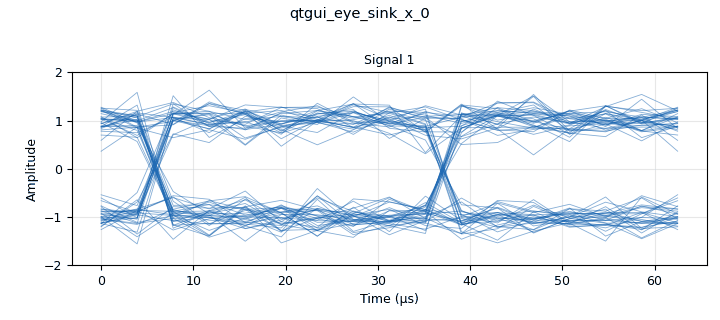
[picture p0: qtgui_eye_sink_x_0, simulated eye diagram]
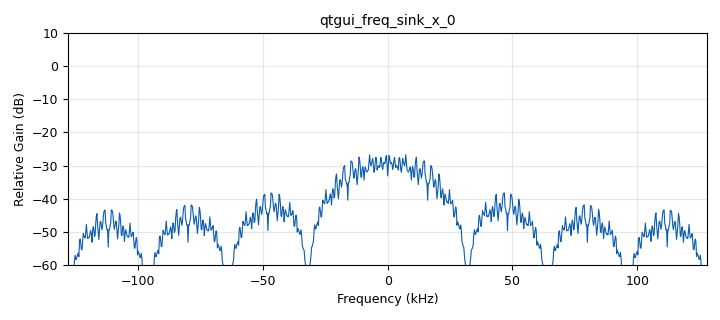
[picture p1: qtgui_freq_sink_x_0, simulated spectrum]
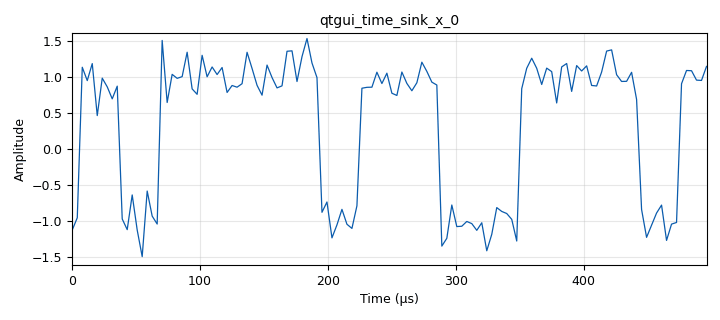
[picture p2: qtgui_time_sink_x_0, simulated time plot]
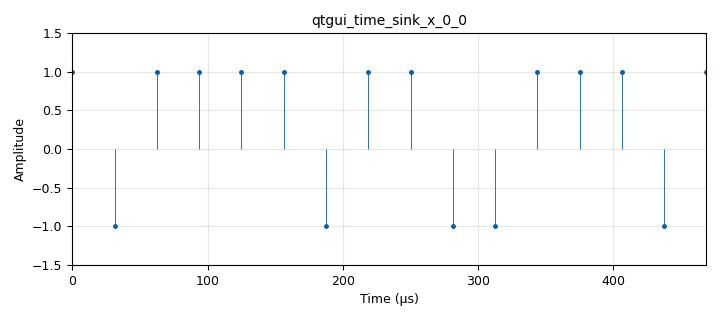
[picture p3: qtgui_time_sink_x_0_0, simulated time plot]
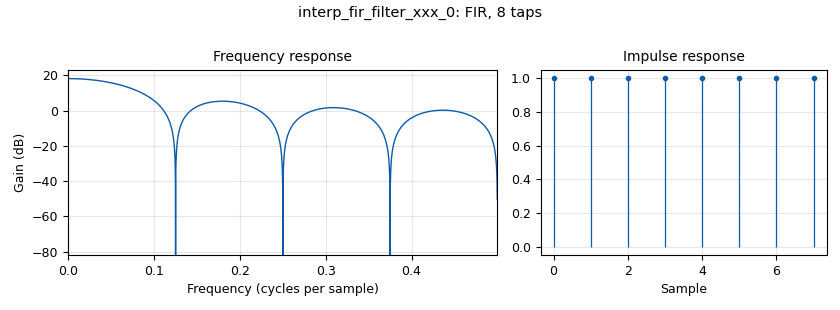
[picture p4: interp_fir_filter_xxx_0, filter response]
options:
  parameters:
    author: radiogis_director
    generate_options: qt_gui
    id: ej1
    output_language: python
    title: ej1
  states: {}

blocks:
- name: BW_filtro
  id: variable_qtgui_range
  parameters:
    gui_hint: 0,0,1,1
    label: BE_filtro
    start: '0'
    step: Fmax/100
    stop: Fmax
    value: Fmax
  states: {}
- name: Fmax
  id: variable
  parameters:
    value: samp_rate/2
  states: {}
- name: Rb
  id: variable
  parameters:
    value: Rs*bps
  states: {}
- name: Rs
  id: variable
  parameters:
    value: '32000'
  states: {}
- name: Sps
  id: variable
  parameters:
    value: '8'
  states: {}
- name: bps
  id: variable
  parameters:
    value: '1'
  states: {}
- name: h
  id: variable
  parameters:
    value: '[1]*Sps'
  states: {}
- name: samp_rate
  id: variable
  parameters:
    value: Rs*Sps
  states: {}
- name: analog_noise_source_x_0
  id: analog_noise_source_x
  parameters:
    amp: '0.2'
    noise_type: analog.GR_GAUSSIAN
    seed: '0'
    type: float
  states: {}
- name: analog_random_source_x_0
  id: analog_random_source_x
  parameters:
    max: '2'
    min: '0'
    num_samps: '1000'
    repeat: 'True'
    type: byte
  states: {}
- name: blocks_add_const_vxx_0
  id: blocks_add_const_vxx
  parameters:
    const: '-0.5'
    type: float
  states: {}
- name: blocks_add_xx_0
  id: blocks_add_xx
  parameters:
    type: float
  states: {}
- name: blocks_char_to_float_0
  id: blocks_char_to_float
  parameters:
    scale: '1'
  states: {}
- name: blocks_multiply_const_vxx_0
  id: blocks_multiply_const_vxx
  parameters:
    const: '2'
    type: float
  states: {}
- name: filter_fft_low_pass_filter_0
  id: filter_fft_low_pass_filter
  parameters:
    cutoff_freq: BW_filtro
    decim: '1'
    gain: '1'
    samp_rate: samp_rate
    type: fff
    width: BW_filtro
    win: window.WIN_HAMMING
  states: {}
- name: import_0
  id: import
  parameters:
    imports: import math
  states: {}
- name: interp_fir_filter_xxx_0
  id: interp_fir_filter_xxx
  parameters:
    interp: Sps
    taps: h
    type: fff
  states: {}
- name: menu
  id: qtgui_tab_widget
  parameters:
    gui_hint: 4,0,1,1
    label0: Time
    label1: PSD
    label2: Eye Diagram
    num_tabs: '3'
  states: {}
- name: qtgui_eye_sink_x_0
  id: qtgui_eye_sink_x
  parameters:
    gui_hint: menu@2:0,0,1,1
    samp_per_symbol: Sps
    size: '1024'
    srate: samp_rate
    type: float
    width1: '3'
    ymax: '2'
    ymin: '-2'
  states: {}
- name: qtgui_freq_sink_x_0
  id: qtgui_freq_sink_x
  parameters:
    average: '0.05'
    bw: samp_rate
    fc: '0'
    fftsize: '1024'
    gui_hint: menu@1:0,0,1,1
    type: float
    width1: '3'
    ymin: '-60'
  states: {}
- name: qtgui_time_sink_x_0
  id: qtgui_time_sink_x
  parameters:
    gui_hint: menu@0:1,0,1,1
    size: 16*Sps
    srate: samp_rate
    type: float
    width1: '3'
    ymax: '1.5'
    ymin: '-1.5'
  states: {}
- name: qtgui_time_sink_x_0_0
  id: qtgui_time_sink_x
  parameters:
    gui_hint: menu@0:0,0,1,1
    marker1: '0'
    size: '16'
    srate: Rs
    stemplot: 'True'
    type: float
    width1: '3'
    ymax: '1.5'
    ymin: '-1.5'
  states: {}
- name: virtual_sink_0
  id: virtual_sink
  parameters:
    stream_id: p1
  states: {}
- name: virtual_sink_0_0
  id: virtual_sink
  parameters:
    stream_id: p0
  states: {}
- name: virtual_sink_0_0_0
  id: virtual_sink
  parameters:
    stream_id: p-1
  states: {}
- name: virtual_source_0
  id: virtual_source
  parameters:
    stream_id: p1
  states: {}
- name: virtual_source_0_0
  id: virtual_source
  parameters:
    stream_id: p0
  states: {}
- name: virtual_source_0_0_0
  id: virtual_source
  parameters:
    stream_id: p-1
  states: {}

connections:
- [analog_noise_source_x_0, '0', blocks_add_xx_0, '0']
- [analog_random_source_x_0, '0', blocks_char_to_float_0, '0']
- [blocks_add_const_vxx_0, '0', blocks_multiply_const_vxx_0, '0']
- [blocks_add_xx_0, '0', virtual_sink_0, '0']
- [blocks_char_to_float_0, '0', blocks_add_const_vxx_0, '0']
- [blocks_multiply_const_vxx_0, '0', interp_fir_filter_xxx_0, '0']
- [blocks_multiply_const_vxx_0, '0', virtual_sink_0_0_0, '0']
- [filter_fft_low_pass_filter_0, '0', blocks_add_xx_0, '1']
- [filter_fft_low_pass_filter_0, '0', virtual_sink_0_0, '0']
- [interp_fir_filter_xxx_0, '0', filter_fft_low_pass_filter_0, '0']
- [virtual_source_0, '0', qtgui_eye_sink_x_0, '0']
- [virtual_source_0, '0', qtgui_time_sink_x_0, '0']
- [virtual_source_0_0, '0', qtgui_freq_sink_x_0, '0']
- [virtual_source_0_0_0, '0', qtgui_time_sink_x_0_0, '0']

metadata:
  file_format: 1
